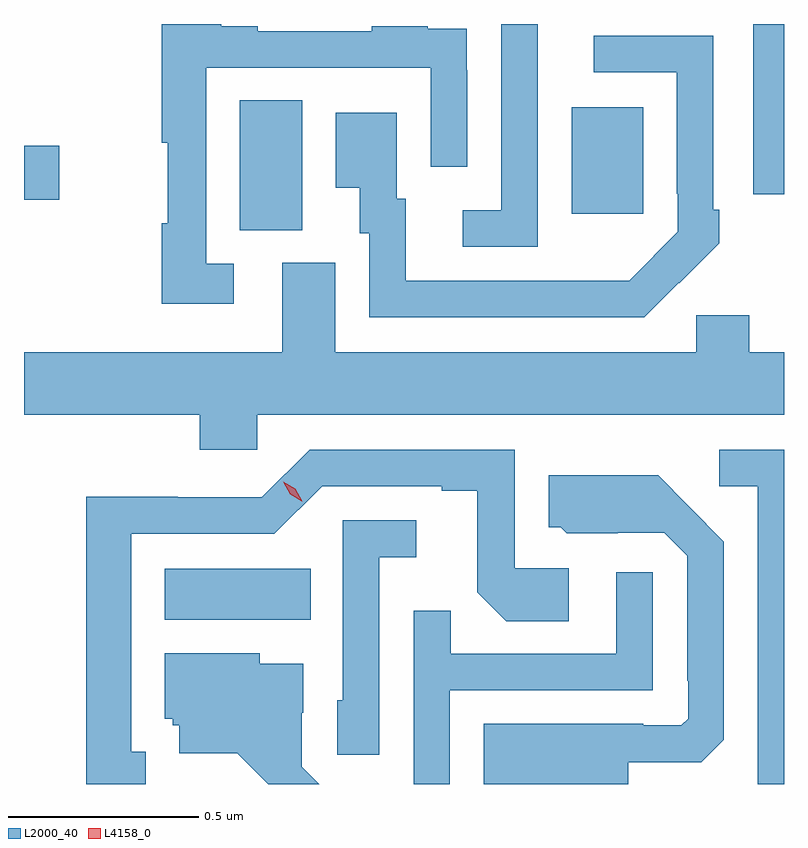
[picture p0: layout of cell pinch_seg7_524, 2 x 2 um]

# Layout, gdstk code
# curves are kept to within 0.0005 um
import gdstk
lib = gdstk.Library(unit=1e-6, precision=1e-09)
def R(c, l, rs):  # rectangles x0, y0, x1, y1
    for r in rs: c.add(gdstk.rectangle(r[:2], r[2:], *l))
def P(c, l, *ps):  # polygons
    for p in ps: c.add(gdstk.Polygon(p, *l))
L2000_40 = (2000, 40)
L4158_0 = (4158, 0)

pinch_seg7_524 = lib.new_cell('pinch_seg7_524')
R(pinch_seg7_524, L2000_40, [(132.266,1077.332,132.65,1077.466), (132.464,1078.357,132.628,1078.7), (133.337,1078.401,133.525,1078.681), (131.896,1078.438,131.989,1078.58), (133.815,1078.452,133.896,1078.9)])
P(pinch_seg7_524, L2000_40, [(132.448,1078.269),(132.375,1078.269),(132.375,1078.785),(132.966,1078.785),(132.966,1078.524),(133.062,1078.524),(133.062,1078.778),(133.061,1078.778),(133.061,1078.887),(132.959,1078.887),(132.959,1078.894),(132.811,1078.894),(132.811,1078.881),(132.511,1078.881),(132.511,1078.894),(132.415,1078.894),(132.415,1078.9),(132.259,1078.9),(132.259,1078.587),(132.274,1078.587),(132.274,1078.376),(132.259,1078.376),(132.259,1078.164),(132.448,1078.164)],
  [(133.248,1078.9),(133.152,1078.9),(133.152,1078.41),(133.05,1078.41),(133.05,1078.314),(133.248,1078.314)],
  [(133.619,1078.219),(133.62,1078.218),(133.725,1078.323),(133.725,1078.411),(133.71,1078.411),(133.71,1078.869),(133.395,1078.869),(133.395,1078.773),(133.614,1078.773),(133.614,1078.453),(133.617,1078.453),(133.617,1078.353),(133.489,1078.225),(133.385,1078.225),(133.385,1078.224),(132.901,1078.224),(132.901,1078.44),(132.877,1078.44),(132.877,1078.666),(132.716,1078.666),(132.716,1078.469),(132.779,1078.469),(132.779,1078.35),(132.804,1078.35),(132.804,1078.128),(133.528,1078.128)],
  [(132.51,1077.872),(133.896,1077.872),(133.896,1078.036),(133.804,1078.036),(133.804,1078.134),(133.665,1078.134),(133.665,1078.036),(132.715,1078.036),(132.715,1078.272),(132.575,1078.272),(132.575,1078.036),(131.896,1078.036),(131.896,1077.872),(132.359,1077.872),(132.359,1077.779),(132.51,1077.779)],
  [(133.896,1077.78),(133.725,1077.78),(133.725,1077.684),(133.827,1077.684),(133.827,1076.9),(133.896,1076.9)],
  [(132.217,1076.985),(132.178,1076.985),(132.178,1077.558),(132.555,1077.558),(132.681,1077.684),(132.995,1077.684),(132.995,1077.672),(133.089,1077.672),(133.089,1077.404),(133.165,1077.328),(133.33,1077.328),(133.33,1077.468),(133.188,1077.468),(133.188,1077.78),(132.648,1077.78),(132.522,1077.654),(132.3,1077.654),(132.3,1077.656),(132.06,1077.656),(132.06,1076.9),(132.217,1076.9)],
  [(133.486,1076.957),(133.678,1076.957),(133.737,1077.016),(133.737,1077.538),(133.565,1077.712),(133.277,1077.712),(133.277,1077.576),(133.308,1077.576),(133.324,1077.56),(133.458,1077.56),(133.458,1077.561),(133.581,1077.561),(133.641,1077.501),(133.641,1077.172),(133.644,1077.172),(133.644,1077.072),(133.626,1077.054),(133.526,1077.054),(133.526,1077.058),(133.106,1077.058),(133.106,1076.9),(133.486,1076.9)],
  [(132.831,1077.497),(132.928,1077.497),(132.928,1077.594),(132.735,1077.594),(132.735,1077.12),(132.72,1077.12),(132.72,1076.977),(132.831,1076.977)],
  [(133.017,1077.147),(133.551,1077.147),(133.551,1077.457),(133.455,1077.457),(133.455,1077.243),(133.019,1077.243),(133.019,1077.356),(132.921,1077.356),(132.921,1076.9),(133.017,1076.9)],
  [(132.627,1076.946),(132.627,1077.088),(132.631,1077.088),(132.631,1077.217),(132.516,1077.217),(132.516,1077.244),(132.266,1077.244),(132.266,1077.072),(132.288,1077.072),(132.288,1077.054),(132.305,1077.054),(132.305,1076.981),(132.457,1076.981),(132.539,1076.9),(132.673,1076.9)])
P(pinch_seg7_524, L4158_0, [(132.627,1077.644),(132.596,1077.663),(132.578,1077.695),(132.578,1077.695),(132.578,1077.695),(132.61,1077.677),(132.628,1077.644),(132.628,1077.644)])

lib.write_gds('pinch_seg7_524.gds')
